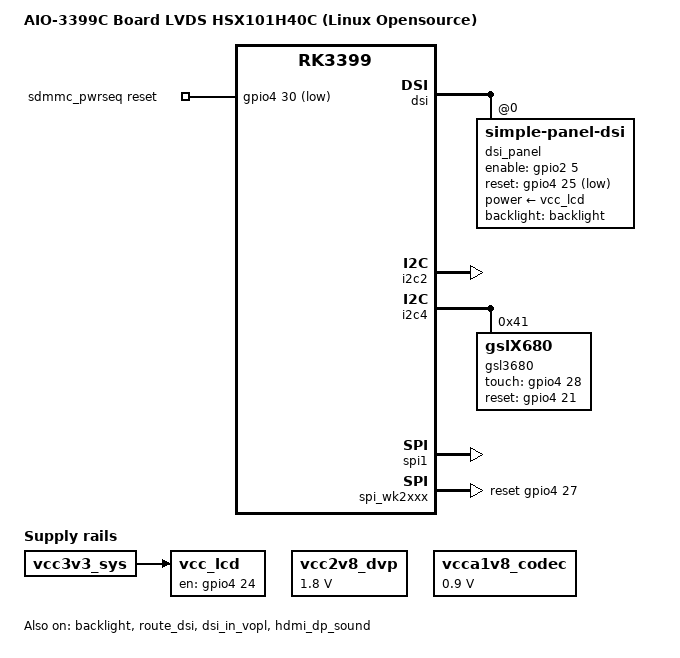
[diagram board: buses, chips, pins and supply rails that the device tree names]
/*
 * Copyright (c) 2016 Fuzhou Rockchip Electronics Co., Ltd
 *
 * This file is dual-licensed: you can use it either under the terms
 * of the GPL or the X11 license, at your option. Note that this dual
 * licensing only applies to this file, and not this project as a
 * whole.
 *
 *  a) This file is free software; you can redistribute it and/or
 *     modify it under the terms of the GNU General Public License as
 *     published by the Free Software Foundation; either version 2 of the
 *     License, or (at your option) any later version.
 *
 *     This file is distributed in the hope that it will be useful,
 *     but WITHOUT ANY WARRANTY; without even the implied warranty of
 *     MERCHANTABILITY or FITNESS FOR A PARTICULAR PURPOSE.  See the
 *     GNU General Public License for more details.
 *
 * Or, alternatively,
 *     restriction, including without limitation the rights to use,
 *     copy, modify, merge, publish, distribute, sublicense, and/or
 *     sell copies of the Software, and to permit persons to whom the
 *     Software is furnished to do so, subject to the following
 *     conditions:
 *
 *     The above copyright notice and this permission notice shall be
 *     included in all copies or substantial portions of the Software.
 *
 *     THE SOFTWARE IS PROVIDED "AS IS", WITHOUT WARRANTY OF ANY KIND,
 *     EXPRESS OR IMPLIED, INCLUDING BUT NOT LIMITED TO THE WARRANTIES
 *     OF MERCHANTABILITY, FITNESS FOR A PARTICULAR PURPOSE AND
 *     NONINFRINGEMENT. IN NO EVENT SHALL THE AUTHORS OR COPYRIGHT
 *     HOLDERS BE LIABLE FOR ANY CLAIM, DAMAGES OR OTHER LIABILITY,
 *     WHETHER IN AN ACTION OF CONTRACT, TORT OR OTHERWISE, ARISING
 *     FROM, OUT OF OR IN CONNECTION WITH THE SOFTWARE OR THE USE OR
 *     OTHER DEALINGS IN THE SOFTWARE.
 */

/dts-v1/;

#include "rk3399-firefly-port.dtsi"
#include <dt-bindings/sensor-dev.h>
#include <dt-bindings/display/media-bus-format.h>

/ {
	model = "AIO-3399C Board LVDS HSX101H40C (Linux Opensource)";
	compatible = "rockchip,rk3399-firefly", "rockchip,rk3399";

	test-power {
		status = "okay";
	};

	/delete-node/ vcc-sd;
	sdmmc_pwrseq: sdmmc-pwrseq {
		compatible = "mmc-pwrseq-simple";
		clocks = <&rk808 1>;
		clock-names = "ext_clock";
		pinctrl-names = "default";
		pinctrl-0 = <&sdcard_enable_h>;
		/*
		* On the module itself this is one of these (depending
		* on the actual card populated):
		* - SDIO_RESET_L_WL_REG_ON
		* - PDN (power down when low)
		*/
		reset-gpios = <&gpio4 30 GPIO_ACTIVE_LOW>; /* GPIO4_D6 */
	};

	vcc_lcd: vcc-lcd {
		compatible = "regulator-fixed";
		enable-active-high;
		regulator-boot-on;
		gpio = <&gpio4 24 GPIO_ACTIVE_HIGH>;
		pinctrl-names = "default";
		pinctrl-0 = <&lcd_en>;
		regulator-name = "vcc_lcd";
		vin-supply = <&vcc3v3_sys>;
	};
};

&backlight {
	status = "okay";
	pwms = <&pwm0 0 25000 1>;
	enable-gpios = <&gpio1 1 GPIO_ACTIVE_HIGH>;
	brightness-levels = </*
		  0   1   2   3   4   5   6   7
		  8   9  10  11  12  13  14  15
		 16  17  18  19  20  21  22  23
		 24  25  26  27  28  29  30  31
		 32  33  34  35*/36  37  38  39
		 40  41  42  43  44  45  46  47
		 48  49  50  51  52  53  54  55
		 56  57  58  59  60  61  62  63
		 64  65  66  67  68  69  70  71
		 72  73  74  75  76  77  78  79
		 80  81  82  83  84  85  86  87
		 88  89  90  91  92  93  94  95
		 96  97  98  99 100 101 102 103
		104 105 106 107 108 109 110 111
		112 113 114 115 116 117 118 119
		120 121 122 123 124 125 126 127
		128 129 130 131 132 133 134 135
		136 137 138 139 140 141 142 143
		144 145 146 147 148 149 150 151
		152 153 154 155 156 157 158 159
		160 161 162 163 164 165 166 167
		168 169 170 171 172 173 174 175
		176 177 178 179 180 181 182 183
		184 185 186 187 188 189 190 191
		192 193 194 195 196 197 198 199
		200 201 202 203 204 205 206 207
		208 209 210 211 212 213 214 215
		216 217 218 219 220 221 222 223
		224 225 226 227 228 229 230 231
		232 233 234 235 236 237 238 239
		240 241 242 243 244 245 246 247
		248 249 250 251 252 253 254 255>;
	default-brightness-level = <200>;
};

&dsi {
	status = "okay";
	rockchip,lane-rate = <864>;  //lvds_clock*6*2
	dsi_panel: panel {
		compatible ="simple-panel-dsi";
		reg = <0>;
		backlight = <&backlight>;
		power-supply = <&vcc_lcd>;
		enable-gpios = <&gpio2 5 GPIO_ACTIVE_HIGH>;
		reset-gpios = <&gpio4 25 GPIO_ACTIVE_LOW>;
		dsi,flags = <(MIPI_DSI_MODE_VIDEO | MIPI_DSI_MODE_VIDEO_BURST | MIPI_DSI_MODE_LPM | MIPI_DSI_MODE_EOT_PACKET)>;
		dsi,format = <MIPI_DSI_FMT_RGB888>;
		bus-format = <MEDIA_BUS_FMT_RGB666_1X18>;
		dsi,lanes = <4>;
		dsi,channel = <0>;
		enable-delay-ms = <35>;
		prepare-delay-ms = <6>;
		unprepare-delay-ms = <0>;
		disable-delay-ms = <20>;
		size,width = <120>;
		size,height = <170>;
		status = "okay";

		panel-init-sequence = [
			29 02 06 3C 01 09 00 07 00
			29 02 06 14 01 06 00 00 00
			29 02 06 64 01 0B 00 00 00
			29 02 06 68 01 0B 00 00 00
			29 02 06 6C 01 0B 00 00 00
			29 02 06 70 01 0B 00 00 00
			29 02 06 34 01 1F 00 00 00
			29 02 06 10 02 1F 00 00 00
			29 02 06 04 01 01 00 00 00
			29 02 06 04 02 01 00 00 00
			29 02 06 50 04 30 01 F0 03
			29 02 06 54 04 0A 00 32 00   //hsync_len = 0x0A    hback_porch =0x32
			29 02 06 58 04 20 03 32 00   //hactive   = 0x320   hfront_porch=0x32
			29 02 06 5C 04 12 00 0A 00   //vsync_len = 0x12    vback_porch =0x0A
			29 02 06 60 04 00 05 0A 00   //vactive   = 0x500   vfront_porch=0x0A
			29 02 06 64 04 01 00 00 00
			29 02 06 A0 04 06 80 44 00
			29 02 06 A0 04 06 80 04 00
			29 02 06 04 05 04 00 00 00
			29 02 06 80 04 00 01 02 03
			29 02 06 84 04 04 07 05 08
			29 02 06 88 04 09 0A 0E 0F
			29 02 06 8C 04 0B 0C 0D 10
			29 02 06 90 04 16 17 11 12
			29 02 06 94 04 13 14 15 1B
			29 02 06 98 04 18 19 1A 06
			29 02 06 9C 04 31 04 00 00
		];

		panel-exit-sequence = [
			05 05 01 28
			05 78 01 10
		];

		disp_timings: display-timings {
			native-mode = <&timing0>;
			timing0: timing0 {
				clock-frequency = <72000000>; //@60
				hactive = <800>;
				vactive = <1280>;
				hsync-len = <10>;
				hback-porch = <50>;
				hfront-porch = <50>;
				vsync-len = <18>;
				vback-porch = <10>;
				vfront-porch = <10>;
				hsync-active = <0>;
				vsync-active = <0>;
				de-active = <0>;
				pixelclk-active = <0>;
			};
		};
	};
};

&route_dsi {
	status = "okay";
	logo,mode = "center";
};

&dsi_in_vopl {
	status = "okay";
};

&gmac {
	tx_delay = <0x2F>;
	rx_delay = <0x1E>;
};

&hdmi_dp_sound {
	status = "okay";
};

&i2c2 {
	status = "okay";
	i2c-scl-rising-time-ns = <300>;
	i2c-scl-falling-time-ns = <15>;

	sensor@4c {
		status = "disabled";
		compatible = "gs_mc3230";
		reg = <0x4c>;
		type = <SENSOR_TYPE_ACCEL>;
		irq_enable = <0>;
		poll_delay_ms = <30>;
		layout = <1>;
	};
};

&i2c4 {
	status = "okay";

	gsl3680: gsl3680@41 {
		compatible = "gslX680";
		reg = <0x41>;
		screen_max_x = <800>;
		screen_max_y = <1280>;
		touch-gpio = <&gpio4 28 IRQ_TYPE_LEVEL_LOW>;
		reset-gpio = <&gpio4 21 GPIO_ACTIVE_HIGH>;
		gsl,fw = <1>;
		flip-x = <1>;
		flip-y = <0>;
		swap-xy = <0>;
	};

	sensor@4c {
		status = "disabled";
		compatible = "gs_mc3230";
		reg = <0x4c>;
		type = <SENSOR_TYPE_ACCEL>;
		irq_enable = <0>;
		poll_delay_ms = <30>;
		layout = <1>;
	};
};

&rt5640 {
	hp-con-gpio = <&gpio1 22 GPIO_ACTIVE_HIGH>;
	hp-det-gpio = <&gpio2 2 GPIO_ACTIVE_HIGH>;
	io-channels = <0>;
	linein-mute = <1>;
};

&sdmmc {
	/delete-property/ vmmc-supply;
	mmc-pwrseq = <&sdmmc_pwrseq>;
};

&spi1 {
    status = "okay";
};

&spi_wk2xxx {
    status = "okay";
	reset-gpio = <&gpio4 27 GPIO_ACTIVE_HIGH>;
	irq-gpio = <&gpio4 26 IRQ_TYPE_EDGE_FALLING>;
	cs-gpio = <&gpio1 10 GPIO_ACTIVE_HIGH>;
};

&vcc3v3_3g {
	gpio = <&gpio2 6 GPIO_ACTIVE_HIGH>;
};

&vcc3v3_pcie {
    status = "disabled";
};

&uart4 {
    status = "disabled";
};

&dp_in_vopb {
	status = "disabled";
};

&hdmi_in_vopb {
	status = "disabled";
};

&wdt {
	status = "disabled";
};

&io_domains {
	bt656-supply = <&vcc_3v0>;
};

&vcc2v8_dvp {
	regulator-min-microvolt = <1800000>;
	regulator-max-microvolt = <1800000>;
};

&vcca1v8_codec {
	regulator-min-microvolt = <900000>;
	regulator-max-microvolt = <900000>;
};

&pinctrl {
	pinctrl-names = "default";
	pinctrl-0 = <&host_hub_vcc>;

	host-hub-vcc {
		host_hub_vcc: host-hub-vcc {
			rockchip,pins = <1 23 RK_FUNC_GPIO &pcfg_output_high>,
				<2 4 RK_FUNC_GPIO &pcfg_output_high>,
				<4 29 RK_FUNC_GPIO &pcfg_output_high>;
		};
	};

	lcd {
		lcd_en: lcd-en  {
			rockchip,pins = <4 24 RK_FUNC_GPIO &pcfg_pull_none>;
		};
	};

	pcie {
		pcie_3g_drv: pcie-3g-drv {
			rockchip,pins =
				<2 6 RK_FUNC_GPIO &pcfg_pull_up>;
		};
	};

	sdmmc-pwrseq {
		sdcard_enable_h: sdcard-enable-h {
			rockchip,pins =
				<4 30 RK_FUNC_GPIO &pcfg_pull_none>;
		};
	};
};
